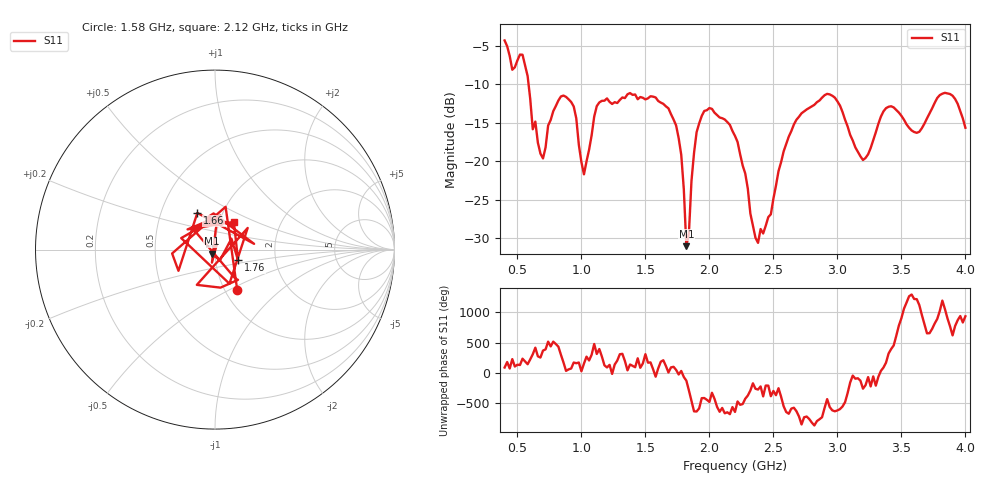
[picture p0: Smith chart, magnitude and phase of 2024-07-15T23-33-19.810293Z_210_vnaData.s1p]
!Created with skrf (http://scikit-rf.org).
# Hz S RI R 50.0
!freq ReS11 ImS11
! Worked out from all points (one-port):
!   181 points, 400 MHz to 4 GHz, reference 50 ohm
!   lowest |S11| = -31.0 dB at 1.82 GHz (marker M1), VSWR 1.06, Z = 48.3 - j2.18 ohm
!   |S11| at or under -10 dB: 587 MHz to end of sweep
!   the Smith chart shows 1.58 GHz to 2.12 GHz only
!   S11 on the Smith chart (normalised r, x): 1.58 GHz: 1.14, -0.56; 1.66 GHz: 0.76, +0.33; 1.76 GHz: 1.28, -0.15; 2.12 GHz: 1.17, +0.37
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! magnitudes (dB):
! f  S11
! 400 MHz  -4.3
! 460 MHz  -8.1
! 540 MHz  -6.2
! 620 MHz  -15.9
! 700 MHz  -19.6
! 860 MHz  -11.5
! 940 MHz  -12.9
! 1.02 GHz  -21.7
! 1.12 GHz  -12.9
! 1.3 GHz  -12.1
! 1.58 GHz  -11.7
! 1.66 GHz  -12.9
! 1.76 GHz  -17.0
! 1.8 GHz  -23.6
! 1.82 GHz  -31.0
! 1.88 GHz  -18.9
! 1.92 GHz  -15.1
! 2.12 GHz  -14.6
! 2.2 GHz  -16.7
! 2.38 GHz  -30.6
! 2.66 GHz  -15.2
! 2.92 GHz  -11.3
! 3.1 GHz  -16.6
! 3.2 GHz  -19.9
! 3.38 GHz  -13.1
! 3.56 GHz  -15.7
! 3.84 GHz  -11.1
! 4 GHz  -15.7
